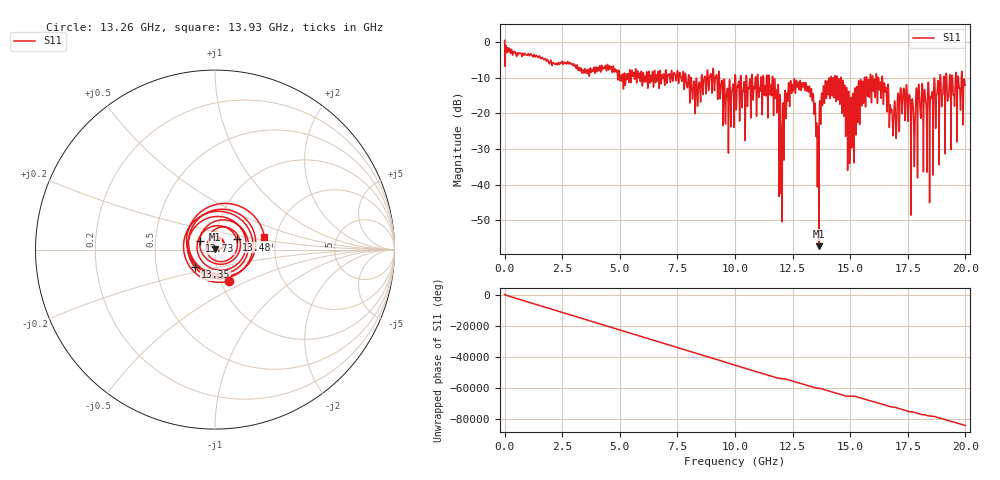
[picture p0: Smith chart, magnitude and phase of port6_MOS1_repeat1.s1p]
! MS46122B
! 2250307/22442219
! 7/28/2025 8:09:54 AM
! C:\USERS\SPARKY\DOCUMENTS\VNA_DATA\JULY28_2025\295K\PORT6_MOS1_REPEAT1.S1P
! CHANNEL.1
! TR.MEASUREMENT
! RAW.DATA
# GHZ S RI R 50.0
! FREQ.GHZ  S11RE  S11IM
!; PortSelection: Port_1
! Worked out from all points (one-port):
!   10001 points, 1 MHz to 20 GHz, reference 50 ohm
!   lowest |S11| = -57.3 dB at 13.64 GHz (marker M1), VSWR 1.00, Z = 50.1 + j0.102 ohm
!   |S11| at or under -10 dB: 11.64 GHz to 14.17 GHz (2.528 GHz wide, 19.6 % of centre); 14.6 GHz to 15.62 GHz (1.019 GHz wide, 6.74 % of centre); 16.4 GHz to 18.9 GHz (2.493 GHz wide, 14.1 % of centre) (the widest 3 of 72)
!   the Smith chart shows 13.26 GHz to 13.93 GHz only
!   S11 on the Smith chart (normalised r, x): 13.26 GHz: 1.09, -0.40; 13.35 GHz: 0.79, -0.16; 13.48 GHz: 1.27, +0.15; 13.73 GHz: 0.84, +0.08; 13.93 GHz: 1.73, +0.27
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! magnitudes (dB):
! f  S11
! 1 MHz  0.4
! 2.501 GHz  -5.5
! 5.001 GHz  -10.7
! 7.501 GHz  -8.0
! 9.651 GHz  -13.8
! 10 GHz  -9.4
! 11.55 GHz  -12.1
! 11.8 GHz  -13.6
! 12.06 GHz  -30.5
! 12.25 GHz  -14.5
! 12.5 GHz  -11.9
! 13.26 GHz  -14.3
! 13.35 GHz  -16.5
! 13.48 GHz  -17.5
! 13.64 GHz  -57.3
! 13.73 GHz  -20.2
! 13.93 GHz  -10.9
! 14.51 GHz  -10.3
! 15 GHz  -18.3
! 15.8 GHz  -10.6
! 16.47 GHz  -12.4
! 16.92 GHz  -16.6
! 17.5 GHz  -22.1
! 17.72 GHz  -17.5
! 18.05 GHz  -20.3
! 18.52 GHz  -15.6
! 18.99 GHz  -15.8
! 20 GHz  -12.1
